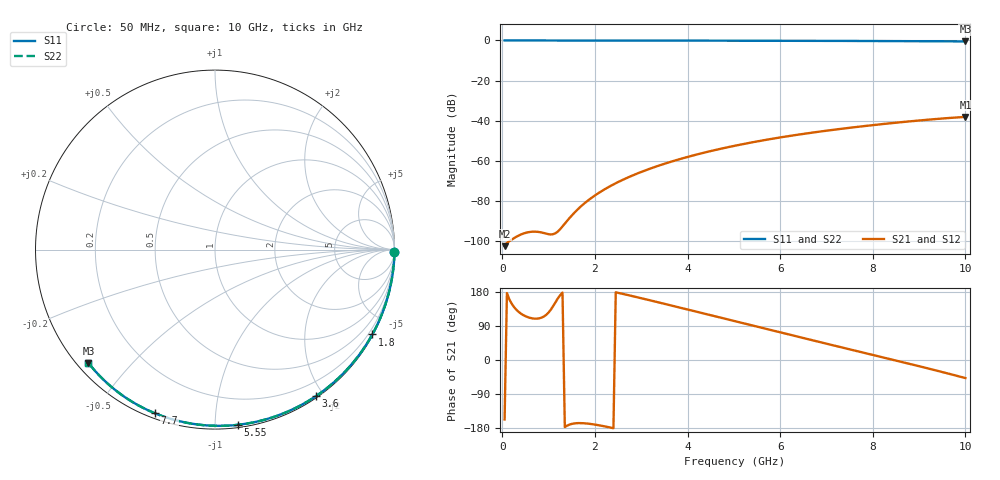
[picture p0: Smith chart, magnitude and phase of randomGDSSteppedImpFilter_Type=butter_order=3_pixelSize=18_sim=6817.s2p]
! freq	dB(S11)	phase(S11)	dB(S12)	phase(S12)
!  dB(S21)	phase(S21)	dB(S22)	phase(S22)
!S-par simulation data
#  GHz  S  DB  R 50
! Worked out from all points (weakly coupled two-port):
!   200 points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, 50 MHz to 10 GHz, reference 50 ohm
!   highest |S21| = -38.06 dB at 10 GHz (marker M1); lowest = -102.4 dB at 50 MHz (marker M2)
!   lowest |S11| = -0.5 dB at 10 GHz (marker M3), VSWR 36.42, Z = 1.57 - j19.1 ohm
!   |S11| at or under -10 dB: nowhere
!   |S22| runs from -0.5 to 0.0 dB; largest |S21 - S12| = 0
!   S11 on the Smith chart (normalised r, x): 50 MHz: open; 1.8 GHz: 0.03, -3.96; 3.6 GHz: 0.02, -1.91; 5.55 GHz: 0.02, -1.14; 7.7 GHz: 0.02, -0.70; 10 GHz: 0.03, -0.38
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0.05  -0.00 -0.8  -102.44 -156.9  -102.44 -156.9  -0.00 -0.8
0.45  -0.01 -7.2  -96.20 118.7  -96.20 118.7  -0.01 -7.2
0.9  -0.02 -14.3  -95.92 114.8  -95.92 114.8  -0.02 -14.3
1.3  -0.03 -20.6  -92.63 177.8  -92.63 177.8  -0.03 -20.6
1.75  -0.04 -27.6  -81.57 -166.8  -81.57 -166.8  -0.04 -27.6
1.8  -0.04 -28.3  -80.61 -167.3  -80.61 -167.3  -0.04 -28.3
1.85  -0.04 -29.1  -79.70 -167.9  -79.70 -167.9  -0.04 -29.1
2.05  -0.04 -32.2  -76.41 -171.5  -76.41 -171.5  -0.04 -32.2
2.25  -0.05 -35.2  -73.58 -176.1  -73.58 -176.1  -0.05 -35.2
2.55  -0.05 -39.8  -69.95 176.0  -69.95 176.0  -0.05 -39.8
2.95  -0.06 -45.8  -65.93 164.6  -65.93 164.6  -0.06 -45.8
3.4  -0.07 -52.4  -62.17 151.3  -62.17 151.3  -0.07 -52.4
3.6  -0.07 -55.3  -60.69 145.3  -60.69 145.3  -0.07 -55.3
4.3  -0.09 -65.4  -56.20 124.3  -56.20 124.3  -0.09 -65.4
5.05  -0.12 -75.8  -52.29 101.6  -52.29 101.6  -0.12 -75.8
5.55  -0.14 -82.6  -50.08 86.4  -50.08 86.4  -0.14 -82.6
6.1  -0.16 -89.9  -47.93 69.8  -47.93 69.8  -0.16 -89.9
6.7  -0.19 -97.6  -45.87 51.9  -45.87 51.9  -0.19 -97.6
7.7  -0.25 -110.2  -42.95 22.4  -42.95 22.4  -0.25 -110.2
8.35  -0.30 -118.2  -41.31 3.3  -41.31 3.3  -0.30 -118.2
9.2  -0.38 -128.5  -39.44 -22.4  -39.44 -22.4  -0.38 -128.5
10  -0.48 -138.1  -38.06 -47.6  -38.06 -47.6  -0.48 -138.1
